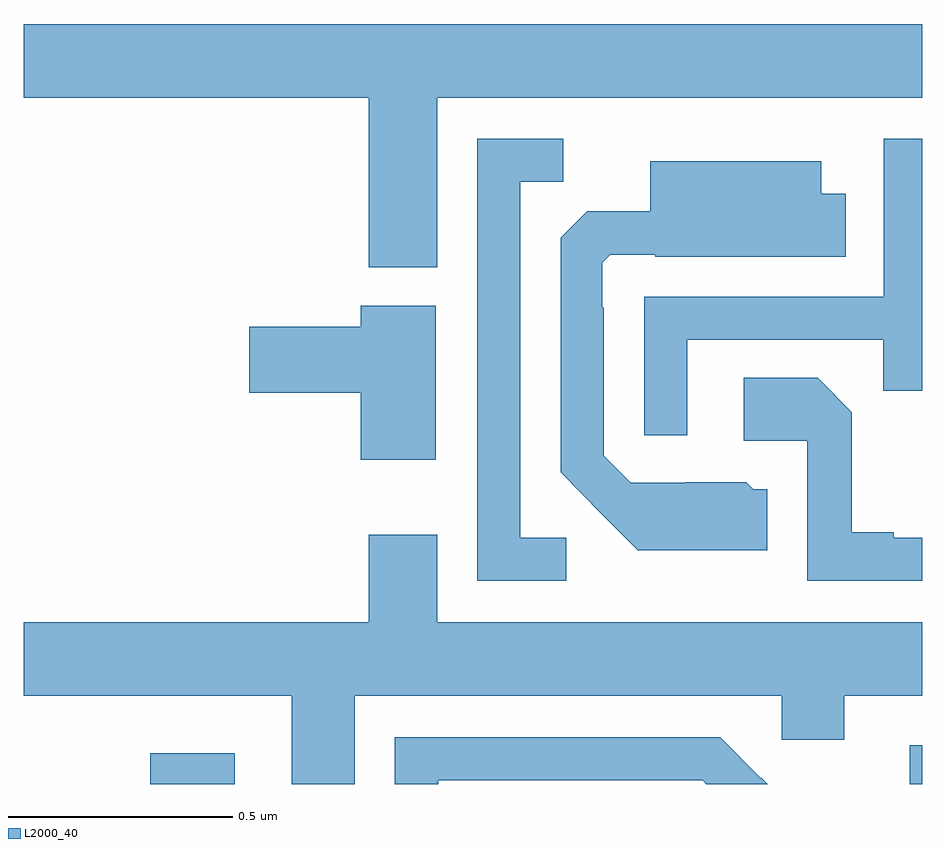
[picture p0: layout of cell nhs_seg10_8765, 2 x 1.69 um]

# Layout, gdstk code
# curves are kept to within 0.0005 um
import gdstk
lib = gdstk.Library(unit=1e-6, precision=1e-09)
def R(c, l, rs):  # rectangles x0, y0, x1, y1
    for r in rs: c.add(gdstk.rectangle(r[:2], r[2:], *l))
def P(c, l, *ps):  # polygons
    for p in ps: c.add(gdstk.Polygon(p, *l))
L2000_40 = (2000, 40)

nhs_seg10_8765 = lib.new_cell('nhs_seg10_8765')
R(nhs_seg10_8765, L2000_40, [(221.281,1253.5,221.47,1253.569), (222.972,1253.5,223,1253.586)])
P(nhs_seg10_8765, L2000_40, [(221.92,1255.028),(223,1255.028),(223,1255.192),(221,1255.192),(221,1255.028),(221.768,1255.028),(221.768,1254.65),(221.92,1254.65)],
  [(222.477,1254.489),(222.913,1254.489),(222.913,1254.376),(223,1254.376),(223,1254.936),(222.915,1254.936),(222.915,1254.585),(222.381,1254.585),(222.381,1254.276),(222.477,1254.276)],
  [(222.208,1254.048),(222.105,1254.048),(222.105,1254.841),(222.201,1254.841),(222.201,1254.936),(222.009,1254.936),(222.009,1253.952),(222.208,1253.952)],
  [(222.655,1254.156),(222.624,1254.156),(222.608,1254.172),(222.474,1254.172),(222.474,1254.171),(222.351,1254.171),(222.291,1254.231),(222.291,1254.56),(222.288,1254.56),(222.288,1254.66),(222.306,1254.678),(222.406,1254.678),(222.406,1254.674),(222.83,1254.674),(222.83,1254.814),(222.775,1254.814),(222.775,1254.886),(222.395,1254.886),(222.395,1254.775),(222.254,1254.775),(222.195,1254.716),(222.195,1254.194),(222.367,1254.02),(222.655,1254.02)],
  [(221.917,1254.565),(221.75,1254.565),(221.75,1254.518),(221.502,1254.518),(221.502,1254.371),(221.75,1254.371),(221.75,1254.222),(221.917,1254.222)],
  [(223,1254.048),(222.937,1254.048),(222.937,1254.061),(222.843,1254.061),(222.843,1254.328),(222.767,1254.404),(222.603,1254.404),(222.603,1254.264),(222.744,1254.264),(222.744,1253.952),(223,1253.952)],
  [(221.737,1253.696),(222.687,1253.696),(222.687,1253.598),(222.826,1253.598),(222.826,1253.696),(223,1253.696),(223,1253.86),(221.92,1253.86),(221.92,1254.055),(221.768,1254.055),(221.768,1253.86),(221,1253.86),(221,1253.696),(221.597,1253.696),(221.597,1253.5),(221.737,1253.5)],
  [(221.923,1253.508),(222.511,1253.508),(222.519,1253.5),(222.656,1253.5),(222.642,1253.514),(222.641,1253.513),(222.55,1253.604),(221.826,1253.604),(221.826,1253.5),(221.923,1253.5)])

lib.write_gds('nhs_seg10_8765.gds')
